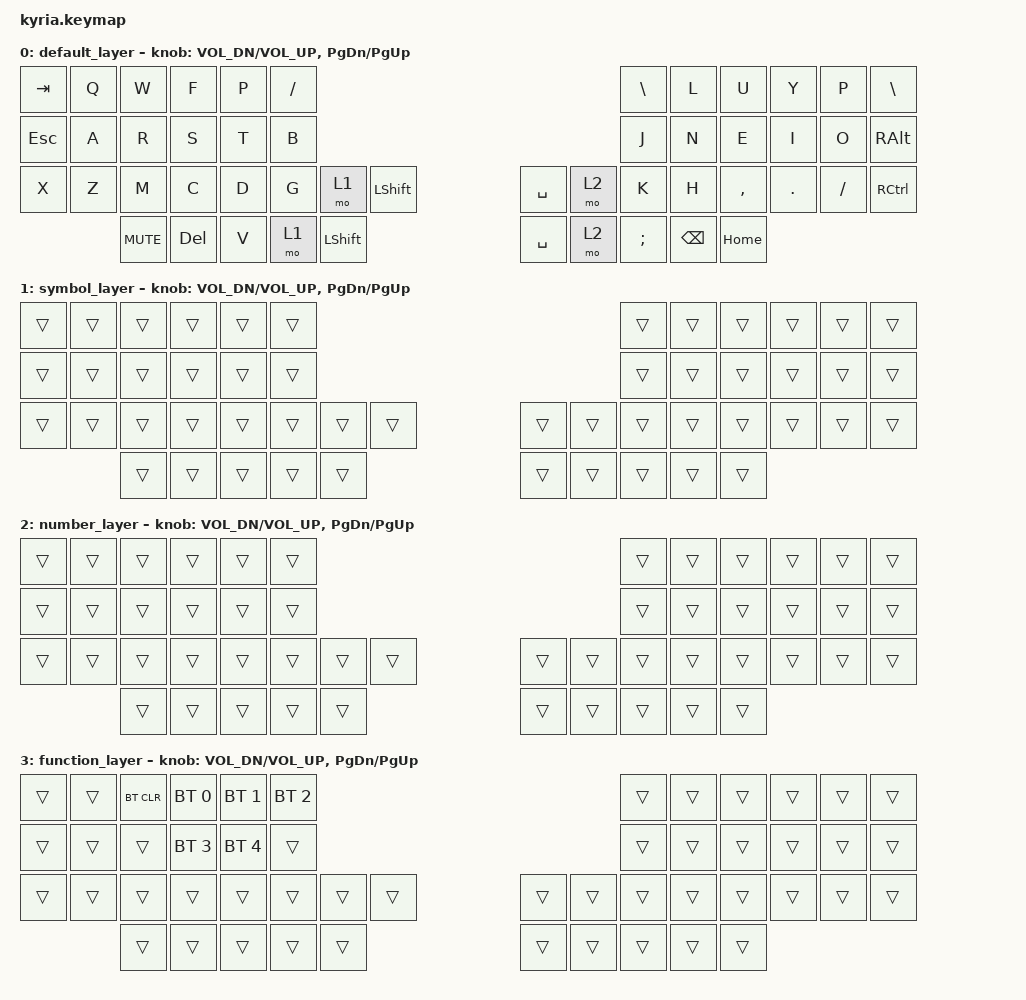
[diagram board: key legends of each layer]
/*
 * Copyright (c) 2020 The ZMK Contributors
 *
 * SPDX-License-Identifier: MIT
 */

#include <behaviors.dtsi>
#include <dt-bindings/zmk/bt.h>
#include <dt-bindings/zmk/keys.h>

/ {
    keymap {
        compatible = "zmk,keymap";

        default_layer {
            bindings = <
    &kp TAB &kp Q &kp W &kp F &kp P &kp FSLH                                           &kp BSLH &kp L &kp U     &kp Y   &kp P    &kp BSLH
    &kp ESC &kp A &kp R &kp S &kp T &kp B                                              &kp J    &kp N &kp E     &kp I   &kp O    &kp RALT
    &kp X   &kp Z &kp M &kp C &kp D &kp G &mo 1 &kp LSHFT              &kp SPACE &mo 2 &kp K    &kp H &kp COMMA &kp DOT &kp FSLH &kp RCTRL
                 &kp C_MUTE &kp DEL &kp V &mo 1 &kp LSHFT              &kp SPACE &mo 2 &kp SEMI &kp BSPC &kp HOME
            >;

            sensor-bindings = <&inc_dec_kp C_VOL_DN C_VOL_UP &inc_dec_kp PG_DN PG_UP>;
        };
        symbol_layer {
            bindings = <
    &trans &trans &trans &trans &trans &trans                                    &trans &trans &trans &trans &trans &trans
    &trans &trans &trans &trans &trans &trans                                    &trans &trans &trans &trans &trans &trans
    &trans &trans &trans &trans &trans &trans &trans &trans        &trans &trans &trans &trans &trans &trans &trans &trans
                         &trans &trans &trans &trans &trans        &trans &trans &trans &trans &trans
            >;

            sensor-bindings = <&inc_dec_kp C_VOL_DN C_VOL_UP &inc_dec_kp PG_DN PG_UP>;
        };
        number_layer {
            bindings = <
    &trans &trans &trans &trans &trans &trans                                    &trans &trans &trans &trans &trans &trans
    &trans &trans &trans &trans &trans &trans                                    &trans &trans &trans &trans &trans &trans
    &trans &trans &trans &trans &trans &trans &trans &trans        &trans &trans &trans &trans &trans &trans &trans &trans
                         &trans &trans &trans &trans &trans        &trans &trans &trans &trans &trans
            >;

            sensor-bindings = <&inc_dec_kp C_VOL_DN C_VOL_UP &inc_dec_kp PG_DN PG_UP>;
        };
        function_layer {
// ---------------------------------------------------------------------------------------------------------------------------------
// |       |      |BT_CLR|BTSEL0|BTSEL1|BTSEL2|                                         |      |      |      |      |      |      |
// |       |      |      |BTSEL3|BTSEL4|      |                                         |      |      |      |      |      |      |
// |       |      |      |      |      |      |      |      |      |      |      |      |      |      |      |      |      |      |
//                       |      |      |      |      |      |      |      |      |      |      |      |      |
            bindings = <
    &trans &trans &bt BT_CLR &bt BT_SEL 0 &bt BT_SEL 1 &bt BT_SEL 2              &trans &trans &trans &trans &trans &trans
    &trans &trans &trans     &bt BT_SEL 3 &bt BT_SEL 4 &trans                    &trans &trans &trans &trans &trans &trans
    &trans &trans &trans &trans &trans &trans &trans &trans        &trans &trans &trans &trans &trans &trans &trans &trans
                         &trans &trans &trans &trans &trans        &trans &trans &trans &trans &trans
            >;

            sensor-bindings = <&inc_dec_kp C_VOL_DN C_VOL_UP &inc_dec_kp PG_DN PG_UP>;
        };
    };
};
